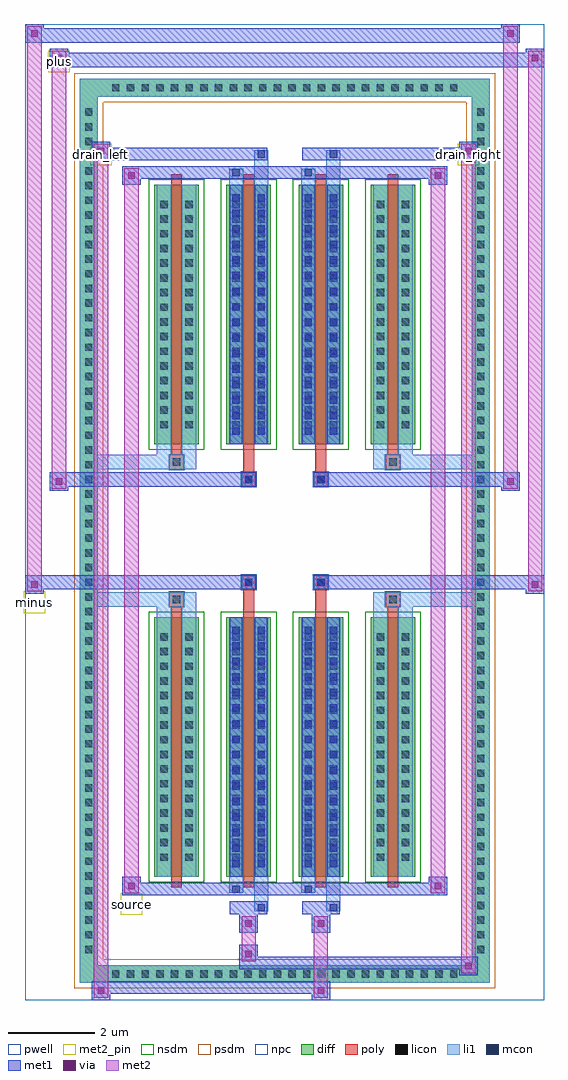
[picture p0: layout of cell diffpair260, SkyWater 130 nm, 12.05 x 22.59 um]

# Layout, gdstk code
import gdstk
lib = gdstk.Library(unit=1e-6, precision=5e-09)
def R(c, l, rs):  # rectangles x0, y0, x1, y1
    for r in rs: c.add(gdstk.rectangle(r[:2], r[2:], *l))
def A(c, l, x, y, w, h, nx, ny, dx, dy):  # array of equal rectangles
    R(c, l, [(x+i*dx, y+j*dy, x+i*dx+w, y+j*dy+h) for i in range(nx) for j in range(ny)])
def P(c, l, *ps):  # polygons
    for p in ps: c.add(gdstk.Polygon(p, *l))
pwell = (64, 44)
diff = (65, 20)
poly = (66, 20)
licon = (66, 44)
li1 = (67, 20)
mcon = (67, 44)
met1 = (68, 20)
via = (68, 44)
met2_pin = (69, 16)
met2 = (69, 20)
nsdm = (93, 44)
psdm = (94, 20)
npc = (95, 20)

diffpair260 = lib.new_cell('diffpair260')
R(diffpair260, pwell, [(-6.01,-10.86,6.01,11.73), (-3.33,-9.05,-0.01,-0.825), (0.01,-9.05,3.33,-0.825), (-3.33,0.825,-0.01,9.05), (0.01,0.825,3.33,9.05)])
A(diffpair260, diff, -4.115, -10.46, 0.41, 0.41, 24, 2, 0.34, 20.51)
A(diffpair260, diff, -4.74, -9.895, 0.41, 0.41, 1, 58, 0, 0.34)
A(diffpair260, diff, 4.33, -9.895, 0.41, 0.41, 1, 58, 0, 0.34)
A(diffpair260, diff, -3.02, -8.005, 1.03, 6, 4, 2, 1.67, 10.01)
R(diffpair260, diff, [(-4.115,-10.46,4.115,-10.05), (-4.74,-9.895,-4.33,9.895), (4.33,-9.895,4.74,9.895), (-4.115,10.05,4.115,10.46)])
P(diffpair260, diff, [(4.74,10.46),(-4.74,10.46),(-4.74,-10.05),(-4.33,-10.05),(-4.33,10.05),(4.33,10.05),(4.33,-10.05),(-4.33,-10.05),(-4.74,-10.05),(-4.74,-10.46),(4.74,-10.46)])
A(diffpair260, poly, -2.63, -8.255, 0.25, 6.5, 4, 2, 1.67, 10.01)
R(diffpair260, poly, [(-2.67,-1.755,-2.34,-1.425), (-2.67,-1.755,-2.34,-1.425), (-0.96,-1.755,-0.71,-1.355), (0.71,-1.755,0.96,-1.355), (2.34,-1.755,2.67,-1.425), (2.34,-1.755,2.67,-1.425), (-1,-1.355,-0.67,-1.025), (-1,-1.355,-0.67,-1.025), (0.67,-1.355,1,-1.025), (0.67,-1.355,1,-1.025), (-1,1.025,-0.67,1.355), (-1,1.025,-0.67,1.355), (0.67,1.025,1,1.355), (0.67,1.025,1,1.355), (-0.96,1.355,-0.71,1.755), (0.71,1.355,0.96,1.755), (-2.67,1.425,-2.34,1.755), (-2.67,1.425,-2.34,1.755), (2.34,1.425,2.67,1.755), (2.34,1.425,2.67,1.755)])
A(diffpair260, licon, -3.995, -10.34, 0.17, 0.17, 24, 2, 0.34, 20.51)
A(diffpair260, licon, -4.62, -9.775, 0.17, 0.17, 1, 58, 0, 0.34)
A(diffpair260, licon, 4.45, -9.775, 0.17, 0.17, 1, 58, 0, 0.34)
A(diffpair260, licon, -2.88, -7.64, 0.17, 0.17, 1, 16, 0, 0.34)
A(diffpair260, licon, -2.3, -7.64, 0.17, 0.17, 1, 16, 0, 0.34)
A(diffpair260, licon, -1.21, -7.64, 0.17, 0.17, 1, 16, 0, 0.34)
A(diffpair260, licon, -0.63, -7.64, 0.17, 0.17, 1, 16, 0, 0.34)
A(diffpair260, licon, 0.46, -7.64, 0.17, 0.17, 1, 16, 0, 0.34)
A(diffpair260, licon, 1.04, -7.64, 0.17, 0.17, 1, 16, 0, 0.34)
A(diffpair260, licon, 2.13, -7.64, 0.17, 0.17, 1, 16, 0, 0.34)
A(diffpair260, licon, 2.71, -7.64, 0.17, 0.17, 1, 16, 0, 0.34)
A(diffpair260, licon, -2.88, 2.37, 0.17, 0.17, 1, 16, 0, 0.34)
A(diffpair260, licon, -2.3, 2.37, 0.17, 0.17, 1, 16, 0, 0.34)
A(diffpair260, licon, -1.21, 2.37, 0.17, 0.17, 1, 16, 0, 0.34)
A(diffpair260, licon, -0.63, 2.37, 0.17, 0.17, 1, 16, 0, 0.34)
A(diffpair260, licon, 0.46, 2.37, 0.17, 0.17, 1, 16, 0, 0.34)
A(diffpair260, licon, 1.04, 2.37, 0.17, 0.17, 1, 16, 0, 0.34)
A(diffpair260, licon, 2.13, 2.37, 0.17, 0.17, 1, 16, 0, 0.34)
A(diffpair260, licon, 2.71, 2.37, 0.17, 0.17, 1, 16, 0, 0.34)
R(diffpair260, licon, [(-2.59,-1.675,-2.42,-1.505), (2.42,-1.675,2.59,-1.505), (-0.92,-1.275,-0.75,-1.105), (0.75,-1.275,0.92,-1.105), (-0.92,1.105,-0.75,1.275), (0.75,1.105,0.92,1.275), (-2.59,1.505,-2.42,1.675), (2.42,1.505,2.59,1.675)])
A(diffpair260, li1, -4.075, -10.42, 0.33, 0.33, 24, 2, 0.34, 20.51)
A(diffpair260, li1, -4.7, -9.855, 0.33, 0.33, 1, 58, 0, 0.34)
A(diffpair260, li1, 4.37, -9.855, 0.33, 0.33, 1, 58, 0, 0.34)
A(diffpair260, li1, -1.21, -7.79, 0.17, 0.17, 1, 16, 0, 0.36)
A(diffpair260, li1, -0.63, -7.79, 0.17, 0.17, 1, 16, 0, 0.36)
A(diffpair260, li1, 0.46, -7.79, 0.17, 0.17, 1, 16, 0, 0.36)
A(diffpair260, li1, 1.04, -7.79, 0.17, 0.17, 1, 16, 0, 0.36)
A(diffpair260, li1, -2.96, -7.72, 0.33, 0.33, 1, 16, 0, 0.34)
A(diffpair260, li1, -2.38, -7.72, 0.33, 0.33, 1, 16, 0, 0.34)
A(diffpair260, li1, -1.29, -7.72, 0.33, 0.33, 1, 16, 0, 0.34)
A(diffpair260, li1, -0.71, -7.72, 0.33, 0.33, 1, 16, 0, 0.34)
A(diffpair260, li1, 0.38, -7.72, 0.33, 0.33, 1, 16, 0, 0.34)
A(diffpair260, li1, 0.96, -7.72, 0.33, 0.33, 1, 16, 0, 0.34)
A(diffpair260, li1, 2.05, -7.72, 0.33, 0.33, 1, 16, 0, 0.34)
A(diffpair260, li1, 2.63, -7.72, 0.33, 0.33, 1, 16, 0, 0.34)
A(diffpair260, li1, -1.21, 2.22, 0.17, 0.17, 1, 16, 0, 0.36)
A(diffpair260, li1, -0.63, 2.22, 0.17, 0.17, 1, 16, 0, 0.36)
A(diffpair260, li1, 0.46, 2.22, 0.17, 0.17, 1, 16, 0, 0.36)
A(diffpair260, li1, 1.04, 2.22, 0.17, 0.17, 1, 16, 0, 0.36)
A(diffpair260, li1, -2.96, 2.29, 0.33, 0.33, 1, 16, 0, 0.34)
A(diffpair260, li1, -2.38, 2.29, 0.33, 0.33, 1, 16, 0, 0.34)
A(diffpair260, li1, -1.29, 2.29, 0.33, 0.33, 1, 16, 0, 0.34)
A(diffpair260, li1, -0.71, 2.29, 0.33, 0.33, 1, 16, 0, 0.34)
A(diffpair260, li1, 0.38, 2.29, 0.33, 0.33, 1, 16, 0, 0.34)
A(diffpair260, li1, 0.96, 2.29, 0.33, 0.33, 1, 16, 0, 0.34)
A(diffpair260, li1, 2.05, 2.29, 0.33, 0.33, 1, 16, 0, 0.34)
A(diffpair260, li1, 2.63, 2.29, 0.33, 0.33, 1, 16, 0, 0.34)
R(diffpair260, li1, [(-4.74,-10.46,-4.33,-10.05), (-4.74,-10.46,-4.33,-10.05), (-4.33,-10.46,4.33,-10.05), (4.33,-10.46,4.74,-10.05), (4.33,-10.46,4.74,-10.05), (-4.74,-10.05,-4.33,10.05), (4.33,-10.05,4.74,10.05), (-0.71,-8.81,-0.38,-8.005), (-0.63,-8.81,-0.46,-8.64), (0.96,-8.81,1.29,-8.005), (1.04,-8.81,1.21,-8.64), (-1.29,-8.38,-0.96,-8.005), (-1.21,-8.38,-1.04,-8.21), (0.38,-8.38,0.71,-8.005), (0.46,-8.38,0.63,-8.21), (-2.96,-8.005,-2.63,-2.005), (-2.38,-8.005,-2.05,-2.005), (-1.29,-8.005,-0.96,-2.005), (-0.71,-8.005,-0.38,-2.005), (0.38,-8.005,0.71,-2.005), (0.96,-8.005,1.29,-2.005), (2.05,-8.005,2.38,-2.005), (2.63,-8.005,2.96,-2.005), (-1.21,-7.79,-1.04,-2.22), (-0.63,-7.79,-0.46,-2.22), (0.46,-7.79,0.63,-2.22), (1.04,-7.79,1.21,-2.22), (-2.96,-2.005,-2.63,-1.425), (-2.38,-2.005,-2.05,-1.425), (2.05,-2.005,2.38,-1.425), (2.63,-2.005,2.96,-1.425), (-4.74,-1.755,-2.67,-1.425), (-2.96,-1.755,-2.67,-1.425), (-2.67,-1.755,-2.34,-1.425), (-2.34,-1.755,-2.05,-1.425), (2.05,-1.755,2.34,-1.425), (2.34,-1.755,2.67,-1.425), (2.34,-1.755,4.74,-1.425), (2.67,-1.755,2.96,-1.425), (-1,-1.355,-0.67,-1.025), (0.67,-1.355,1,-1.025), (-1,1.025,-0.67,1.355), (0.67,1.025,1,1.355), (-4.74,1.425,-2.67,1.755), (-2.96,1.425,-2.67,1.755), (-2.96,1.425,-2.63,2.005), (-2.67,1.425,-2.34,1.755), (-2.38,1.425,-2.05,2.005), (-2.34,1.425,-2.05,1.755), (2.05,1.425,2.34,1.755), (2.05,1.425,2.38,2.005), (2.34,1.425,2.67,1.755), (2.34,1.425,4.74,1.755), (2.63,1.425,2.96,2.005), (2.67,1.425,2.96,1.755), (-2.96,2.005,-2.63,8.005), (-2.38,2.005,-2.05,8.005), (-1.29,2.005,-0.96,8.005), (-0.71,2.005,-0.38,8.005), (0.38,2.005,0.71,8.005), (0.96,2.005,1.29,8.005), (2.05,2.005,2.38,8.005), (2.63,2.005,2.96,8.005), (-1.21,2.22,-1.04,7.79), (-0.63,2.22,-0.46,7.79), (0.46,2.22,0.63,7.79), (1.04,2.22,1.21,7.79), (-1.29,8.005,-0.96,8.38), (-0.71,8.005,-0.38,8.81), (0.38,8.005,0.71,8.38), (0.96,8.005,1.29,8.81), (-1.21,8.21,-1.04,8.38), (0.46,8.21,0.63,8.38), (-0.63,8.64,-0.46,8.81), (1.04,8.64,1.21,8.81), (-4.74,10.05,-4.33,10.46), (-4.74,10.05,-4.33,10.46), (-4.33,10.05,4.33,10.46), (4.33,10.05,4.74,10.46), (4.33,10.05,4.74,10.46)])
A(diffpair260, mcon, -1.21, -7.79, 0.17, 0.17, 1, 16, 0, 0.36)
A(diffpair260, mcon, -0.63, -7.79, 0.17, 0.17, 1, 16, 0, 0.36)
A(diffpair260, mcon, 0.46, -7.79, 0.17, 0.17, 1, 16, 0, 0.36)
A(diffpair260, mcon, 1.04, -7.79, 0.17, 0.17, 1, 16, 0, 0.36)
A(diffpair260, mcon, -1.21, 2.22, 0.17, 0.17, 1, 16, 0, 0.36)
A(diffpair260, mcon, -0.63, 2.22, 0.17, 0.17, 1, 16, 0, 0.36)
A(diffpair260, mcon, 0.46, 2.22, 0.17, 0.17, 1, 16, 0, 0.36)
A(diffpair260, mcon, 1.04, 2.22, 0.17, 0.17, 1, 16, 0, 0.36)
R(diffpair260, mcon, [(-0.63,-8.81,-0.46,-8.64), (1.04,-8.81,1.21,-8.64), (-1.21,-8.38,-1.04,-8.21), (0.46,-8.38,0.63,-8.21), (-0.92,-1.275,-0.75,-1.105), (0.75,-1.275,0.92,-1.105), (-0.92,1.105,-0.75,1.275), (0.75,1.105,0.92,1.275), (-1.21,8.21,-1.04,8.38), (0.46,8.21,0.63,8.38), (-0.63,8.64,-0.46,8.81), (1.04,8.64,1.21,8.81)])
A(diffpair260, met1, -1.27, -7.85, 0.29, 0.29, 1, 16, 0, 0.36)
A(diffpair260, met1, -0.69, -7.85, 0.29, 0.29, 1, 16, 0, 0.36)
A(diffpair260, met1, 0.4, -7.85, 0.29, 0.29, 1, 16, 0, 0.36)
A(diffpair260, met1, 0.98, -7.85, 0.29, 0.29, 1, 16, 0, 0.36)
A(diffpair260, met1, -1.27, 2.16, 0.29, 0.29, 1, 16, 0, 0.36)
A(diffpair260, met1, -0.69, 2.16, 0.29, 0.29, 1, 16, 0, 0.36)
A(diffpair260, met1, 0.4, 2.16, 0.29, 0.29, 1, 16, 0, 0.36)
A(diffpair260, met1, 0.98, 2.16, 0.29, 0.29, 1, 16, 0, 0.36)
R(diffpair260, met1, [(-4.47,-10.86,-4.04,-10.43), (0.62,-10.86,1.05,-10.43), (-4.47,-10.72,1.05,-10.43), (4.04,-10.29,4.47,-9.86), (-1.05,-10.15,4.47,-9.86), (-1.05,-10.01,-0.62,-9.58), (-1.05,-9.3,-0.62,-8.87), (0.62,-9.3,1.05,-8.87), (-1.27,-8.87,-0.4,-8.58), (-0.69,-8.87,-0.4,-8.58), (0.4,-8.87,1.27,-8.58), (0.98,-8.87,1.27,-8.58), (-3.76,-8.44,-3.33,-8.01), (-3.76,-8.44,-1.27,-8.15), (-1.27,-8.44,-0.98,-8.15), (-1.27,-8.44,-0.4,-8.15), (-0.4,-8.44,0.4,-8.15), (0.4,-8.44,0.69,-8.15), (0.4,-8.44,1.27,-8.15), (1.27,-8.44,3.76,-8.15), (3.33,-8.44,3.76,-8.01), (-1.27,-8.005,-0.98,-2.005), (-0.69,-8.005,-0.4,-2.005), (0.4,-8.005,0.69,-2.005), (0.98,-8.005,1.27,-2.005), (-6.01,-1.455,-5.58,-1.025), (5.58,-1.455,6.01,-1.025), (-6.01,-1.355,-0.67,-1.025), (-1,-1.355,-0.67,-1.025), (0.67,-1.355,1,-1.025), (0.67,-1.355,6.01,-1.025), (-0.98,-1.335,-0.69,-1.045), (0.69,-1.335,0.98,-1.045), (-5.44,0.925,-5.01,1.355), (5.01,0.925,5.44,1.355), (-5.44,1.025,-1,1.355), (-1,1.025,-0.67,1.355), (0.67,1.025,1,1.355), (1,1.025,5.44,1.355), (-0.98,1.045,-0.69,1.335), (0.69,1.045,0.98,1.335), (-1.27,2.005,-0.98,8.005), (-0.69,2.005,-0.4,8.005), (0.4,2.005,0.69,8.005), (0.98,2.005,1.27,8.005), (-3.76,8.01,-3.33,8.44), (3.33,8.01,3.76,8.44), (-3.76,8.15,-1.27,8.44), (-1.27,8.15,-0.98,8.44), (-1.27,8.15,-0.4,8.44), (-0.4,8.15,0.4,8.44), (0.4,8.15,0.69,8.44), (0.4,8.15,1.27,8.44), (1.27,8.15,3.76,8.44), (-4.47,8.58,-4.04,9.01), (-4.47,8.58,-1.27,8.87), (-1.27,8.58,-0.4,8.87), (-0.69,8.58,-0.4,8.87), (0.4,8.58,1.27,8.87), (0.98,8.58,1.27,8.87), (1.27,8.58,4.47,8.87), (4.04,8.58,4.47,9.01), (-5.44,10.73,-5.01,11.16), (-5.44,10.73,-3.33,11.06), (-3.33,10.73,3.33,11.06), (3.33,10.73,6.01,11.06), (5.58,10.73,6.01,11.16), (-6.01,11.3,-5.58,11.73), (-6.01,11.3,-3.33,11.63), (-3.33,11.3,3.33,11.63), (3.33,11.3,5.44,11.63), (5.01,11.3,5.44,11.73)])
R(diffpair260, via, [(-4.33,-10.72,-4.18,-10.57), (0.76,-10.72,0.91,-10.57), (4.18,-10.15,4.33,-10), (-0.91,-9.87,-0.76,-9.72), (-0.91,-9.16,-0.76,-9.01), (0.76,-9.16,0.91,-9.01), (-3.62,-8.3,-3.47,-8.15), (3.47,-8.3,3.62,-8.15), (-5.87,-1.315,-5.72,-1.165), (5.72,-1.315,5.87,-1.165), (-5.3,1.065,-5.15,1.215), (5.15,1.065,5.3,1.215), (-3.62,8.15,-3.47,8.3), (3.47,8.15,3.62,8.3), (-4.33,8.72,-4.18,8.87), (4.18,8.72,4.33,8.87), (-5.3,10.87,-5.15,11.02), (5.72,10.87,5.87,11.02), (-5.87,11.44,-5.72,11.59), (5.15,11.44,5.3,11.59)])
R(diffpair260, met2_pin, [(-3.795,-8.89,-3.295,-8.39), (-6.045,-1.905,-5.545,-1.405), (-4.505,8.46,-4.005,8.96), (4.005,8.46,4.505,8.96), (-5.475,10.61,-4.975,11.11)])
R(diffpair260, met2, [(-4.42,-10.81,-4.09,-10.48), (-4.42,-10.81,-4.09,8.96), (0.67,-10.81,1,-10.48), (0.67,-10.48,1,-9.25), (4.09,-10.24,4.42,-9.91), (4.09,-10.24,4.42,8.96), (-1,-9.96,-0.67,-9.63), (-1,-9.63,-0.67,-9.25), (-1,-9.25,-0.67,-8.92), (0.67,-9.25,1,-8.92), (-3.71,-8.39,-3.38,-8.06), (-3.71,-8.39,-3.38,8.39), (3.38,-8.39,3.71,-8.06), (3.38,-8.39,3.71,8.39), (-5.96,-1.405,-5.63,-1.075), (-5.96,-1.405,-5.63,11.68), (5.63,-1.405,5.96,-1.075), (5.63,-1.405,5.96,11.11), (-5.39,0.975,-5.06,1.305), (-5.39,0.975,-5.06,11.11), (5.06,0.975,5.39,1.305), (5.06,0.975,5.39,11.68), (-3.71,8.06,-3.38,8.39), (3.38,8.06,3.71,8.39), (-4.42,8.63,-4.09,8.96), (4.09,8.63,4.42,8.96), (-5.39,10.78,-5.06,11.11), (5.63,10.78,5.96,11.11), (-5.96,11.35,-5.63,11.68), (5.06,11.35,5.39,11.68)])
P(diffpair260, met2, [(5.96,-1.405),(5.96,-1.405),(5.96,-1.075),(5.96,-1.075)],
  [(5.96,10.78),(5.96,10.78),(5.96,11.11),(5.96,11.11)],
  [(-5.63,-1.405),(-5.63,-1.405),(-5.63,-1.075),(-5.63,-1.075)],
  [(-5.63,11.35),(-5.63,11.35),(-5.63,11.68),(-5.63,11.68)],
  [(5.39,0.975),(5.39,0.975),(5.39,1.305),(5.39,1.305)],
  [(5.39,11.35),(5.39,11.35),(5.39,11.68),(5.39,11.68)],
  [(-5.06,0.975),(-5.06,0.975),(-5.06,1.305),(-5.06,1.305)],
  [(-5.06,10.78),(-5.06,10.78),(-5.06,11.11),(-5.06,11.11)],
  [(-4.09,-10.81),(-4.09,-10.81),(-4.09,-10.48),(-4.09,-10.48)],
  [(-4.09,8.63),(-4.09,8.63),(-4.09,8.96),(-4.09,8.96)],
  [(4.42,-10.24),(4.42,-10.24),(4.42,-9.91),(4.42,-9.91)],
  [(4.42,8.63),(4.42,8.63),(4.42,8.96),(4.42,8.96)],
  [(-3.38,-8.39),(-3.38,-8.39),(-3.38,-8.06),(-3.38,-8.06)],
  [(-3.38,8.06),(-3.38,8.06),(-3.38,8.39),(-3.38,8.39)],
  [(3.71,-8.39),(3.71,-8.39),(3.71,-8.06),(3.71,-8.06)],
  [(3.71,8.06),(3.71,8.06),(3.71,8.39),(3.71,8.39)])
A(diffpair260, nsdm, -3.15, -8.135, 1.29, 6.26, 4, 2, 1.67, 10.01)
P(diffpair260, psdm, [(4.87,10.59),(-4.87,10.59),(-4.87,-9.92),(-4.2,-9.92),(-4.2,9.92),(4.2,9.92),(4.2,-9.92),(-4.2,-9.92),(-4.87,-9.92),(-4.87,-10.59),(4.87,-10.59)])
R(diffpair260, npc, [(-2.69,-1.775,-2.32,-1.405), (2.32,-1.775,2.69,-1.405), (-1.02,-1.375,-0.65,-1.005), (0.65,-1.375,1.02,-1.005), (-1.02,1.005,-0.65,1.375), (0.65,1.005,1.02,1.375), (-2.69,1.405,-2.32,1.775), (2.32,1.405,2.69,1.775)])
diffpair260.add(gdstk.Label('minus', (-5.795,-1.655), layer=69, texttype=5))
diffpair260.add(gdstk.Label('drain_right', (4.255,8.71), layer=69, texttype=5))
diffpair260.add(gdstk.Label('drain_left', (-4.255,8.71), layer=69, texttype=5))
diffpair260.add(gdstk.Label('source', (-3.545,-8.64), layer=69, texttype=5))
diffpair260.add(gdstk.Label('plus', (-5.225,10.86), layer=69, texttype=5))

lib.write_gds('diffpair260.gds')
